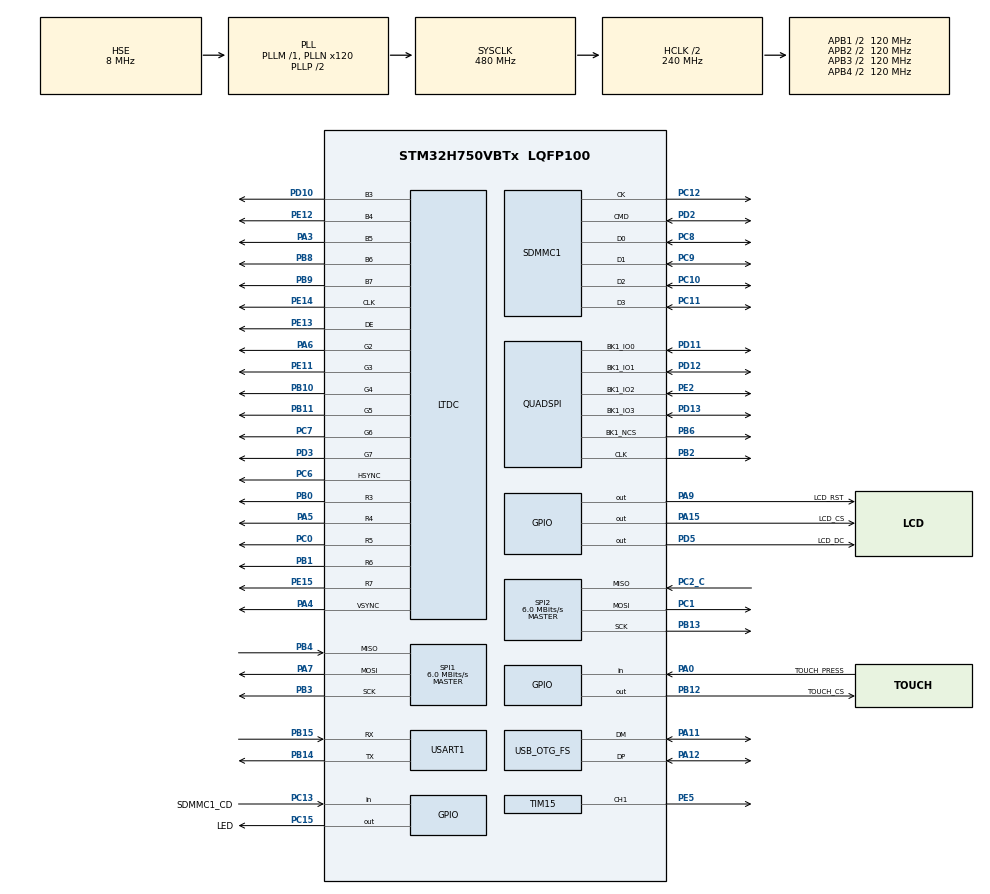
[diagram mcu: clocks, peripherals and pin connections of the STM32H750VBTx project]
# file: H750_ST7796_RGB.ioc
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SPI1.VirtualType=VM_MASTER
SPI2.VirtualType=VM_MASTER
PB10.Mode=RGB565
PC12.Signal=SDMMC1_CK
RCC.PLLFRACN=0
PA15\ (JTDI).Signal=GPIO_Output
PB13.Signal=SPI2_SCK
RCC.SYSCLKSource=RCC_SYSCLKSOURCE_PLLCLK
PA14\ (JTCK/SWCLK).Signal=DEBUG_JTCK-SWCLK
PA4.Mode=RGB565
NVIC.DMA2D_IRQn=true\:0\:0\:false\:false\:true\:true\:true
SPI1.Direction=SPI_DIRECTION_2LINES
PE2.Mode=Single Bank 1
PB6.Signal=QUADSPI_BK1_NCS
PC7.Signal=LTDC_G6
PB6.Mode=Single Bank 1
SPI1.CalculateBaudRate=6.0 MBits/s
PE5.Signal=S_TIM15_CH1
PB2.Signal=QUADSPI_CLK
RCC.DIVM3=4
RCC.DIVM2=1
RCC.DIVM1=1
TIM15.Period=100
PB12.GPIO_Label=TOUCH_CS
LTDC.PixelFormat_L0=LTDC_PIXEL_FORMAT_RGB565
PB14.Mode=Asynchronous
SPI1.DataSize=SPI_DATASIZE_8BIT
PC9.Mode=SD_4_bits_Wide_bus
SPI2.CalculateBaudRate=6.0 MBits/s
PE2.Signal=QUADSPI_BK1_IO2
PA14\ (JTCK/SWCLK).Mode=Serial_Wire
PE13.Mode=RGB565
PD3.Mode=RGB565
LTDC.HSync=10
PA0.Signal=GPIO_Input
Mcu.Package=LQFP100
PB9.Signal=LTDC_B7
PB1.Signal=LTDC_R6
SPI2.Mode=SPI_MODE_MASTER
PD12.Signal=QUADSPI_BK1_IO1
PC11.Mode=SD_4_bits_Wide_bus
LTDC.VSync=4
RCC.APB4Freq_Value=120000000
VP_DMA2D_VS_DMA2D.Mode=DMA2D_Activate
PB13.Mode=Full_Duplex_Master
PH0-OSC_IN\ (PH0).Mode=HSE-External-Oscillator
TIM15.Channel-PWM\ Generation1\ CH1=TIM_CHANNEL_1
PA5.Mode=RGB565
PE12.Mode=RGB565
RCC.DIVQ1=20
PA9.GPIO_Label=LCD_RST
PC13.Signal=GPIO_Input
PD3.Signal=LTDC_G7
PC6.Signal=LTDC_HSYNC
PC0.Signal=LTDC_R5
LTDC.ImageWidth_L0=320
PD10.Signal=LTDC_B3
PA3.Mode=RGB565
PB11.Mode=RGB565
PC6.Mode=RGB565
PA9.Signal=GPIO_Output
RCC.DIVN3=75
RCC.DIVN2=30
RCC.DIVN1=120
PC2_C.Mode=Full_Duplex_Master
PB10.Signal=LTDC_G4
PB14.Signal=USART1_TX
PA5.Signal=LTDC_R4
PC12.Mode=SD_4_bits_Wide_bus
SH.S_TIM15_CH1.0=TIM15_CH1,PWM Generation1 CH1
PE14.Signal=LTDC_CLK
PE15.Signal=LTDC_R7
SPI1.Mode=SPI_MODE_MASTER
PB4\ (NJTRST).Mode=Full_Duplex_Master
PC8.Mode=SD_4_bits_Wide_bus
PA4.Signal=LTDC_VSYNC
PD12.Mode=Single Bank 1
PD11.Signal=QUADSPI_BK1_IO0
LTDC.Alpha_L1=0xFF
LTDC.Alpha_L0=0xFF
PA11.Signal=USB_OTG_FS_DM
ProjectManager.HeapSize=0x2000
PB1.Mode=RGB565
NVIC.PriorityGroup=NVIC_PRIORITYGROUP_4
PB3\ (JTDO/TRACESWO).Mode=Full_Duplex_Master
PB8.Mode=RGB565
SPI2.DataSize=SPI_DATASIZE_8BIT
TIM15.Pulse-PWM\ Generation1\ CH1=500
PD2.Signal=SDMMC1_CMD
RCC.DIVR3=12
RCC.DIVR2=10
PB0.Signal=LTDC_R3
PC1.Signal=SPI2_MOSI
PA13\ (JTMS/SWDIO).Signal=DEBUG_JTMS-SWDIO
PC1.Mode=Full_Duplex_Master
PE15.Mode=RGB565
Mcu.Family=STM32H7
LTDC.BlendingFactor1_L1=LTDC_BLENDING_FACTOR1_PAxCA
LTDC.BlendingFactor1_L0=LTDC_BLENDING_FACTOR1_CA
PA6.Mode=RGB565
RCC.CortexFreq_Value=480000000
RCC.HPRE=RCC_HCLK_DIV2
PH0-OSC_IN\ (PH0).Signal=RCC_OSC_IN
LTDC.HBP=10
PC10.Signal=SDMMC1_D2
PA0.GPIO_Label=TOUCH_PRESS
PA11.Mode=Device_Only
RCC.PLL2FRACN=0
PC13.GPIO_Label=SDMMC1_CD
PB11.Signal=LTDC_G5
PB15.Signal=USART1_RX
ProjectManager.StackSize=0x4000
PD13.Signal=QUADSPI_BK1_IO3
PA12.Signal=USB_OTG_FS_DP
PE11.Mode=RGB565
TIM15.Prescaler=4800-1
RCC.HCLKFreq_Value=240000000
LTDC.WindowX1_L1=240
LTDC.WindowX1_L0=320
PD10.Mode=RGB565
PC2_C.Signal=SPI2_MISO
SPI2.BaudRatePrescaler=SPI_BAUDRATEPRESCALER_8
PH1-OSC_OUT\ (PH1).Mode=HSE-External-Oscillator
RCC.HSE_VALUE=8000000
LTDC.VBP=4
PE13.Signal=LTDC_DE
DMA2D.BytesSwap=DMA2D_BYTES_REGULAR
LTDC.HFP=38
LTDC.BlendingFactor2_L0=LTDC_BLENDING_FACTOR2_CA
LTDC.BlendingFactor2_L1=LTDC_BLENDING_FACTOR2_PAxCA
DMA2D.ColorMode=DMA2D_OUTPUT_RGB565
LTDC.ActiveW=320
RCC.APB3Freq_Value=120000000
PA6.Signal=LTDC_G2
RCC.D1PPRE=RCC_APB3_DIV2
RCC.SDMMC1CLockSelection=RCC_SDMMCCLKSOURCE_PLL2
PD5.GPIO_Label=LCD_DC
USB_OTG_FS.VirtualMode=Device_Only
SPI2.Direction=SPI_DIRECTION_2LINES
SPI1.BaudRatePrescaler=SPI_BAUDRATEPRESCALER_8
DMA2D.LineOffsetMode=DMA2D_LOM_PIXELS
PA3.Signal=LTDC_B5
LTDC.FBStartAdress_L0=0x24000000
LTDC.VFP=8
LTDC.FBStartAdress_L1=0x24025800
LTDC.WindowY1_L0=480
PA7.Mode=Full_Duplex_Master
LTDC.WindowY1_L1=320
PA13\ (JTMS/SWDIO).Mode=Serial_Wire
PC11.Signal=SDMMC1_D3
PC8.Signal=SDMMC1_D0
PC10.Mode=SD_4_bits_Wide_bus
RCC.D2PPRE2=RCC_APB2_DIV2
RCC.D2PPRE1=RCC_APB1_DIV2
PD5.Signal=GPIO_Output
VP_RNG_VS_RNG.Mode=RNG_Activate
PH1-OSC_OUT\ (PH1).Signal=RCC_OSC_OUT
PC0.Mode=RGB565
USART1.VirtualMode-Asynchronous=VM_ASYNC
PB3\ (JTDO/TRACESWO).Signal=SPI1_SCK
ProjectManager.TargetToolchain=Makefile
PC15-OSC32_OUT\ (OSC32_OUT).Signal=GPIO_Output
LTDC.ActiveH=480
PB9.Mode=RGB565
PD13.Mode=Single Bank 1
RCC.USBFreq_Value=48000000
PE11.Signal=LTDC_G3
PD2.Mode=SD_4_bits_Wide_bus
PB0.Mode=RGB565
board=custom
PB15.Mode=Asynchronous
RCC.APB2Freq_Value=120000000
LTDC.Layers=0
PE14.Mode=RGB565
RCC.ADCFreq_Value=120000000
PA15\ (JTDI).GPIO_Label=LCD_CS
Mcu.Name=STM32H750VBTx
PE12.Signal=LTDC_B4
RCC.SYSCLKFreq_VALUE=480000000
PA12.Mode=Device_Only
PC15-OSC32_OUT\ (OSC32_OUT).GPIO_Label=LED
PB2.Mode=Single Bank 1
RCC.QSPICLockSelection=RCC_QSPICLKSOURCE_PLL2
VP_TIM15_VS_ClockSourceINT.Mode=Internal
PD11.Mode=Single Bank 1
PB8.Signal=LTDC_B6
RCC.D3PPRE=RCC_APB4_DIV2
PC9.Signal=SDMMC1_D1
PC7.Mode=RGB565
RCC.APB1Freq_Value=120000000
LTDC.ImageHeight_L0=480
DMA2D.Mode=DMA2D_R2M
PB12.Signal=GPIO_Output
PA7.Signal=SPI1_MOSI
PB4\ (NJTRST).Signal=SPI1_MISO

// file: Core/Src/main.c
/* USER CODE BEGIN Header */
/**
  ******************************************************************************
  * @file           : main.c
  * @brief          : Main program body
  ******************************************************************************
  * @attention
  *
  * <h2><center>&copy; Copyright (c) 2020 STMicroelectronics.
  * All rights reserved.</center></h2>
  *
  * This software component is licensed by ST under BSD 3-Clause license,
  * the "License"; You may not use this file except in compliance with the
  * License. You may obtain a copy of the License at:
  *                        opensource.org/licenses/BSD-3-Clause
  *
  ******************************************************************************
  */
/* USER CODE END Header */
#include "main.h"
#include "dma2d.h"
#include "ltdc.h"
#include "quadspi.h"
#include "rng.h"
#include "sdmmc.h"
#include "spi.h"
#include "tim.h"
#include "usart.h"
#include "usb_otg.h"
#include "gpio.h"

/* USER CODE BEGIN Includes */
#include <stdio.h>
#include "ST7796S_RGB.h"
#include "Hangle.h"
#include "English.h"
#include "TouchPanel.h"

/* USER CODE END Includes */

/* USER CODE BEGIN PV */
uint32_t i;
volatile uint16_t *SDRAM;

/* USER CODE END PV */

void SystemClock_Config(void);

/* USER CODE BEGIN 0 */
void HAL_SYSTICK_Callback(void)
{
	static int cnt = -1000;

	cnt++;
	if(cnt > 500)
	{
		cnt = 0;

		HAL_GPIO_TogglePin(LED_GPIO_Port, LED_Pin);
	}
}

void Demo_Color(void)
{
	BSP_LCD_Clear(RED);
  HAL_Delay(1000);
  BSP_LCD_Clear(GREEN);
  HAL_Delay(1000);
  BSP_LCD_Clear(BLUE);
}

void Demo_Line(void)
{
	uint16_t i, x1, y1, x2, y2, color, w, h;
	uint32_t rn;

	w = BSP_LCD_GetXSize();
	h = BSP_LCD_GetYSize();

	BSP_LCD_Clear(WHITE);

	for(i = 0; i < 5000; i++)
	{
		HAL_RNG_GenerateRandomNumber(&hrng, &rn);
		x1 = rn % w;
		HAL_RNG_GenerateRandomNumber(&hrng, &rn);
		x2 = rn % w;
		HAL_RNG_GenerateRandomNumber(&hrng, &rn);
		y1 = rn % h;
		HAL_RNG_GenerateRandomNumber(&hrng, &rn);
		y2 = rn % h;
		HAL_RNG_GenerateRandomNumber(&hrng, &rn);
		color = rn % 0x10000;

		BSP_LCD_DrawLine(x1, y1, x2, y2, color);
	}
}

void Demo_Circle(void)
{
	uint16_t i, x, y, r, color, w, h;
	uint32_t rn;

	w = BSP_LCD_GetXSize();
	h = BSP_LCD_GetYSize();

	BSP_LCD_Clear(WHITE);

	for(i = 0; i < 5000; i++)
	{
		HAL_RNG_GenerateRandomNumber(&hrng, &rn);
		x = rn % w;
		HAL_RNG_GenerateRandomNumber(&hrng, &rn);
		y = rn % h;
		HAL_RNG_GenerateRandomNumber(&hrng, &rn);
		r = rn % 100;
		HAL_RNG_GenerateRandomNumber(&hrng, &rn);
		color = rn % 0x10000;

		BSP_LCD_DrawCircle(x, y, r, color);
	}
}

void Demo_FillRec(void)
{
	uint16_t i, x1, y1, x2, y2, color, w, h;
	uint32_t rn;

	w = BSP_LCD_GetXSize();
	h = BSP_LCD_GetYSize();

	BSP_LCD_Clear(WHITE);

	for(i = 0; i < 5000; i++)
	{
		HAL_RNG_GenerateRandomNumber(&hrng, &rn);
		x1 = rn % w;
		HAL_RNG_GenerateRandomNumber(&hrng, &rn);
		x2 = rn % w;
		HAL_RNG_GenerateRandomNumber(&hrng, &rn);
		y1 = rn % h;
		HAL_RNG_GenerateRandomNumber(&hrng, &rn);
		y2 = rn % h;
		HAL_RNG_GenerateRandomNumber(&hrng, &rn);
		color = rn % 0x10000;

		BSP_LCD_FillRect(x1, y1, x2, y2, color);
	}
}

void Demo_Text(void)
{
	BSP_LCD_Clear(YELLOW);

#if 0   // 프레임 버퍼에 직접 써 넣는 방식입니다.
	SDRAM = (volatile uint16_t *)0x24000000;		// Layer 설정에 있는 주소입니다.
	for(i = 0; i < BSP_LCD_GetXSize() * BSP_LCD_GetYSize() / 5L; i++) SDRAM[i] = RED;
	for(i = 0; i < BSP_LCD_GetXSize() * BSP_LCD_GetYSize() / 5L; i++) SDRAM[i + (BSP_LCD_GetXSize() * BSP_LCD_GetYSize() / 5L) * 1L] = GREEN;
	for(i = 0; i < BSP_LCD_GetXSize() * BSP_LCD_GetYSize() / 5L; i++) SDRAM[i + (BSP_LCD_GetXSize() * BSP_LCD_GetYSize() / 5L) * 2L] = BLUE;
	for(i = 0; i < BSP_LCD_GetXSize() * BSP_LCD_GetYSize() / 5L; i++) SDRAM[i + (BSP_LCD_GetXSize() * BSP_LCD_GetYSize() / 5L) * 3L] = YELLOW;
	for(i = 0; i < BSP_LCD_GetXSize() * BSP_LCD_GetYSize() / 5L; i++) SDRAM[i + (BSP_LCD_GetXSize() * BSP_LCD_GetYSize() / 5L) * 4L] = ORANGE;
#else		// DMA2D 로 그리는 방식입니다.
	BSP_LCD_FillRect(0, (BSP_LCD_GetYSize() / 5) * 0, BSP_LCD_GetXSize(), BSP_LCD_GetYSize() / 5, RED);
	BSP_LCD_FillRect(0, (BSP_LCD_GetYSize() / 5) * 1, BSP_LCD_GetXSize(), BSP_LCD_GetYSize() / 5, GREEN);
	BSP_LCD_FillRect(0, (BSP_LCD_GetYSize() / 5) * 2, BSP_LCD_GetXSize(), BSP_LCD_GetYSize() / 5, BLUE);
	BSP_LCD_FillRect(0, (BSP_LCD_GetYSize() / 5) * 3, BSP_LCD_GetXSize(), BSP_LCD_GetYSize() / 5, YELLOW);
	BSP_LCD_FillRect(0, (BSP_LCD_GetYSize() / 5) * 4, BSP_LCD_GetXSize(), BSP_LCD_GetYSize() / 5, ORANGE);
#endif

	LCD_Puts26x48(0, 0,   (uint8_t *)"Hello World.", TFT_STRING_MODE_BACKGROUND);
	LCD_Puts18x32(0, 48,  (uint8_t *)"Hello World.", TFT_STRING_MODE_BACKGROUND);
	LCD_Puts14x24(0, 80,  (uint8_t *)"Hello World.", TFT_STRING_MODE_BACKGROUND);
	LCD_Puts8x16( 0, 104, (uint8_t *)"Hello World.", TFT_STRING_MODE_BACKGROUND);

	LCD_SetTextColor(YELLOW);
	LCD_SetBackgroundColor(MAROON);
	LCD_Puts14x24(0, 120,  (uint8_t *)"Yellow Text.", TFT_STRING_MODE_BACKGROUND);
	LCD_Puts14x24(0, 150,  (uint8_t *)"No Background Text.", TFT_STRING_MODE_NO_BACKGROUND);

	DisplayHangle(0, 180, "한글입니다. ABCDEFG");
}

/* USER CODE END 0 */

int main(void)
{
  /* USER CODE BEGIN 1 */
	char str[100];
	Point Pos, old_Pos;

  /* USER CODE END 1 */

  /* MCU Configuration--------------------------------------------------------*/

  /* Reset of all peripherals, Initializes the Flash interface and the Systick. */
  HAL_Init();

  /* Configure the system clock */
  SystemClock_Config();

  /* Initialize all configured peripherals */
  MX_GPIO_Init();
  MX_QUADSPI_Init();
  MX_SDMMC1_SD_Init();
  MX_USART1_UART_Init();
  MX_USB_OTG_FS_PCD_Init();
  MX_LTDC_Init();
  MX_SPI1_Init();
  MX_SPI2_Init();
  MX_TIM15_Init();
  MX_DMA2D_Init();
  MX_RNG_Init();
  /* USER CODE BEGIN 2 */
  ST7796_Init_RGB();
  HAL_TIM_PWM_Start(&htim15, TIM_CHANNEL_1);
  BSP_LCD_SetBackLight(100);

  BSP_LCD_Direction(1);

  Demo_Color();
  HAL_Delay(1000);
  Demo_Line();
  HAL_Delay(1000);
  Demo_Circle();
  HAL_Delay(1000);
  Demo_FillRec();
  HAL_Delay(1000);
  Demo_Text();
  HAL_Delay(3500);

  /* USER CODE END 2 */

  /* Infinite loop */
  /* USER CODE BEGIN WHILE */
  BSP_LCD_Clear(WHITE);
  LCD_Puts14x24(0, 0, (uint8_t *)"TOUCH TEST ", TFT_STRING_MODE_BACKGROUND);

  while (1)
  {
   	if(GetTouchStatus(&Pos))
		{
			if((old_Pos.X != Pos.X) || (old_Pos.Y != Pos.Y))
			{
				BSP_LCD_DrawLine(0, old_Pos.Y, BSP_LCD_GetXSize(), old_Pos.Y, WHITE);
				BSP_LCD_DrawLine(old_Pos.X, 0, old_Pos.X, BSP_LCD_GetYSize(), WHITE);

				old_Pos = Pos;

				BSP_LCD_DrawLine(0, Pos.Y, BSP_LCD_GetXSize(), Pos.Y, BLACK);
				BSP_LCD_DrawLine(Pos.X, 0, Pos.X, BSP_LCD_GetYSize(), BLACK);

				sprintf(str, "X:%4d Y:%4d", Pos.X, Pos.Y);
				LCD_Puts14x24(0, 0, (uint8_t *)str, TFT_STRING_MODE_BACKGROUND);
			}
		}
		HAL_Delay(50);

    /* USER CODE END WHILE */

  }
}

void SystemClock_Config(void)
{
  RCC_OscInitTypeDef RCC_OscInitStruct = {0};
  RCC_ClkInitTypeDef RCC_ClkInitStruct = {0};
  RCC_PeriphCLKInitTypeDef PeriphClkInitStruct = {0};

  /** Supply configuration update enable
  */
  HAL_PWREx_ConfigSupply(PWR_LDO_SUPPLY);
  /** Configure the main internal regulator output voltage
  */
  __HAL_PWR_VOLTAGESCALING_CONFIG(PWR_REGULATOR_VOLTAGE_SCALE0);

  while(!__HAL_PWR_GET_FLAG(PWR_FLAG_VOSRDY)) {}
  /** Macro to configure the PLL clock source
  */
  __HAL_RCC_PLL_PLLSOURCE_CONFIG(RCC_PLLSOURCE_HSE);
  /** Initializes the RCC Oscillators according to the specified parameters
  * in the RCC_OscInitTypeDef structure.
  */
  RCC_OscInitStruct.OscillatorType = RCC_OSCILLATORTYPE_HSI48|RCC_OSCILLATORTYPE_HSE;
  RCC_OscInitStruct.HSEState = RCC_HSE_ON;
  RCC_OscInitStruct.HSI48State = RCC_HSI48_ON;
  RCC_OscInitStruct.PLL.PLLState = RCC_PLL_ON;
  RCC_OscInitStruct.PLL.PLLSource = RCC_PLLSOURCE_HSE;
  RCC_OscInitStruct.PLL.PLLM = 1;
  RCC_OscInitStruct.PLL.PLLN = 120;
  RCC_OscInitStruct.PLL.PLLP = 2;
  RCC_OscInitStruct.PLL.PLLQ = 20;
  RCC_OscInitStruct.PLL.PLLR = 2;
  RCC_OscInitStruct.PLL.PLLRGE = RCC_PLL1VCIRANGE_3;
  RCC_OscInitStruct.PLL.PLLVCOSEL = RCC_PLL1VCOWIDE;
  RCC_OscInitStruct.PLL.PLLFRACN = 0;
  if (HAL_RCC_OscConfig(&RCC_OscInitStruct) != HAL_OK)
  {
    Error_Handler();
  }
  /** Initializes the CPU, AHB and APB buses clocks
  */
  RCC_ClkInitStruct.ClockType = RCC_CLOCKTYPE_HCLK|RCC_CLOCKTYPE_SYSCLK
                              |RCC_CLOCKTYPE_PCLK1|RCC_CLOCKTYPE_PCLK2
                              |RCC_CLOCKTYPE_D3PCLK1|RCC_CLOCKTYPE_D1PCLK1;
  RCC_ClkInitStruct.SYSCLKSource = RCC_SYSCLKSOURCE_PLLCLK;
  RCC_ClkInitStruct.SYSCLKDivider = RCC_SYSCLK_DIV1;
  RCC_ClkInitStruct.AHBCLKDivider = RCC_HCLK_DIV2;
  RCC_ClkInitStruct.APB3CLKDivider = RCC_APB3_DIV2;
  RCC_ClkInitStruct.APB1CLKDivider = RCC_APB1_DIV2;
  RCC_ClkInitStruct.APB2CLKDivider = RCC_APB2_DIV2;
  RCC_ClkInitStruct.APB4CLKDivider = RCC_APB4_DIV2;

  if (HAL_RCC_ClockConfig(&RCC_ClkInitStruct, FLASH_LATENCY_4) != HAL_OK)
  {
    Error_Handler();
  }
  PeriphClkInitStruct.PeriphClockSelection = RCC_PERIPHCLK_LTDC|RCC_PERIPHCLK_USART1
                              |RCC_PERIPHCLK_RNG|RCC_PERIPHCLK_SPI1
                              |RCC_PERIPHCLK_SPI2|RCC_PERIPHCLK_SDMMC
                              |RCC_PERIPHCLK_USB|RCC_PERIPHCLK_QSPI;
  PeriphClkInitStruct.PLL2.PLL2M = 1;
  PeriphClkInitStruct.PLL2.PLL2N = 30;
  PeriphClkInitStruct.PLL2.PLL2P = 2;
  PeriphClkInitStruct.PLL2.PLL2Q = 2;
  PeriphClkInitStruct.PLL2.PLL2R = 10;
  PeriphClkInitStruct.PLL2.PLL2RGE = RCC_PLL2VCIRANGE_3;
  PeriphClkInitStruct.PLL2.PLL2VCOSEL = RCC_PLL2VCOWIDE;
  PeriphClkInitStruct.PLL2.PLL2FRACN = 0;
  PeriphClkInitStruct.PLL3.PLL3M = 4;
  PeriphClkInitStruct.PLL3.PLL3N = 75;
  PeriphClkInitStruct.PLL3.PLL3P = 2;
  PeriphClkInitStruct.PLL3.PLL3Q = 2;
  PeriphClkInitStruct.PLL3.PLL3R = 12;
  PeriphClkInitStruct.PLL3.PLL3RGE = RCC_PLL3VCIRANGE_1;
  PeriphClkInitStruct.PLL3.PLL3VCOSEL = RCC_PLL3VCOMEDIUM;
  PeriphClkInitStruct.PLL3.PLL3FRACN = 0;
  PeriphClkInitStruct.QspiClockSelection = RCC_QSPICLKSOURCE_PLL2;
  PeriphClkInitStruct.SdmmcClockSelection = RCC_SDMMCCLKSOURCE_PLL2;
  PeriphClkInitStruct.Spi123ClockSelection = RCC_SPI123CLKSOURCE_PLL;
  PeriphClkInitStruct.Usart16ClockSelection = RCC_USART16CLKSOURCE_D2PCLK2;
  PeriphClkInitStruct.RngClockSelection = RCC_RNGCLKSOURCE_HSI48;
  PeriphClkInitStruct.UsbClockSelection = RCC_USBCLKSOURCE_PLL;
  if (HAL_RCCEx_PeriphCLKConfig(&PeriphClkInitStruct) != HAL_OK)
  {
    Error_Handler();
  }
  /** Enable USB Voltage detector
  */
  HAL_PWREx_EnableUSBVoltageDetector();
}

void Error_Handler(void)
{
}

/************************ (C) COPYRIGHT STMicroelectronics *****END OF FILE****/
